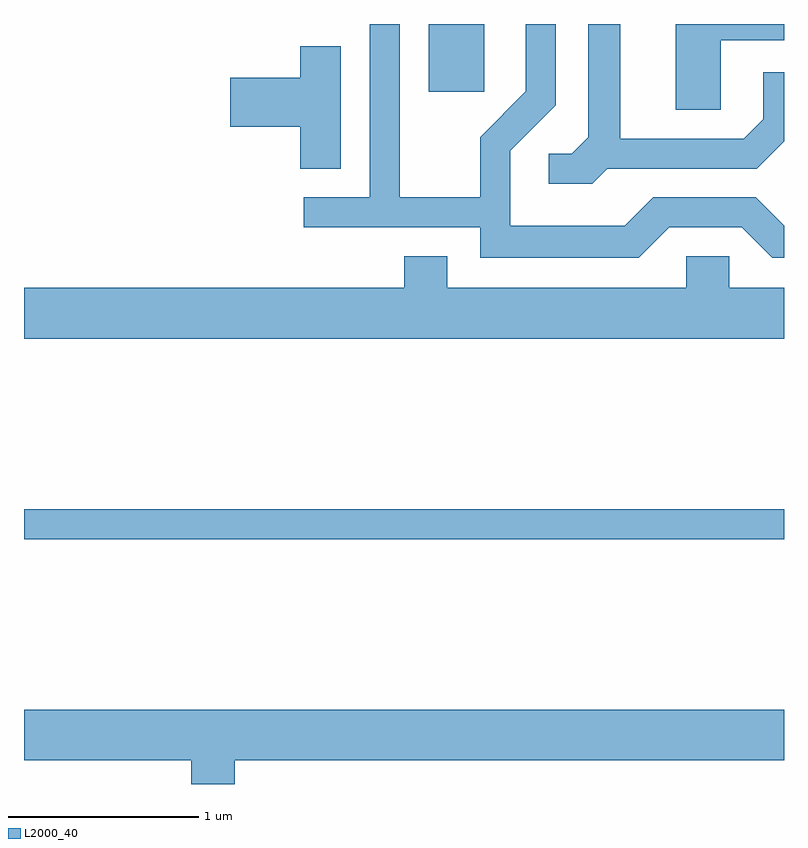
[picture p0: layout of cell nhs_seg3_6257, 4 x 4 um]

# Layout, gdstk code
import gdstk
lib = gdstk.Library(unit=1e-6, precision=1e-09)
def R(c, l, rs):  # rectangles x0, y0, x1, y1
    for r in rs: c.add(gdstk.rectangle(r[:2], r[2:], *l))
def P(c, l, *ps):  # polygons
    for p in ps: c.add(gdstk.Polygon(p, *l))
L2000_40 = (2000, 40)

nhs_seg3_6257 = lib.new_cell('nhs_seg3_6257')
R(nhs_seg3_6257, L2000_40, [(369.611,1127.181,373.611,1127.339), (371.741,1129.536,372.034,1129.892)])
P(nhs_seg3_6257, L2000_40, [(373.007,1128.821),(373.389,1128.821),(373.549,1128.661),(373.611,1128.661),(373.611,1128.83),(373.462,1128.979),(372.924,1128.979),(372.774,1128.829),(372.169,1128.829),(372.169,1129.224),(372.409,1129.464),(372.409,1129.892),(372.251,1129.892),(372.251,1129.537),(372.011,1129.297),(372.011,1128.979),(371.589,1128.979),(371.589,1129.892),(371.431,1129.892),(371.431,1128.979),(371.083,1128.979),(371.083,1128.821),(372.011,1128.821),(372.011,1128.661),(372.847,1128.661)],
  [(373.279,1129.806),(373.611,1129.806),(373.611,1129.892),(373.041,1129.892),(373.041,1129.441),(373.279,1129.441)],
  [(372.682,1129.131),(373.467,1129.131),(373.611,1129.276),(373.611,1129.638),(373.501,1129.638),(373.501,1129.392),(373.399,1129.289),(372.749,1129.289),(372.749,1129.892),(372.581,1129.892),(372.581,1129.297),(372.494,1129.209),(372.373,1129.209),(372.373,1129.051),(372.602,1129.051)],
  [(371.279,1129.774),(371.066,1129.774),(371.066,1129.609),(370.696,1129.609),(370.696,1129.351),(371.066,1129.351),(371.066,1129.131),(371.279,1129.131)],
  [(373.611,1128.504),(373.324,1128.504),(373.324,1128.669),(373.096,1128.669),(373.096,1128.504),(371.839,1128.504),(371.839,1128.669),(371.611,1128.669),(371.611,1128.504),(369.611,1128.504),(369.611,1128.236),(373.611,1128.236)],
  [(370.719,1126.016),(373.611,1126.016),(373.611,1126.284),(369.611,1126.284),(369.611,1126.016),(370.491,1126.016),(370.491,1125.892),(370.719,1125.892)])

lib.write_gds('nhs_seg3_6257.gds')
